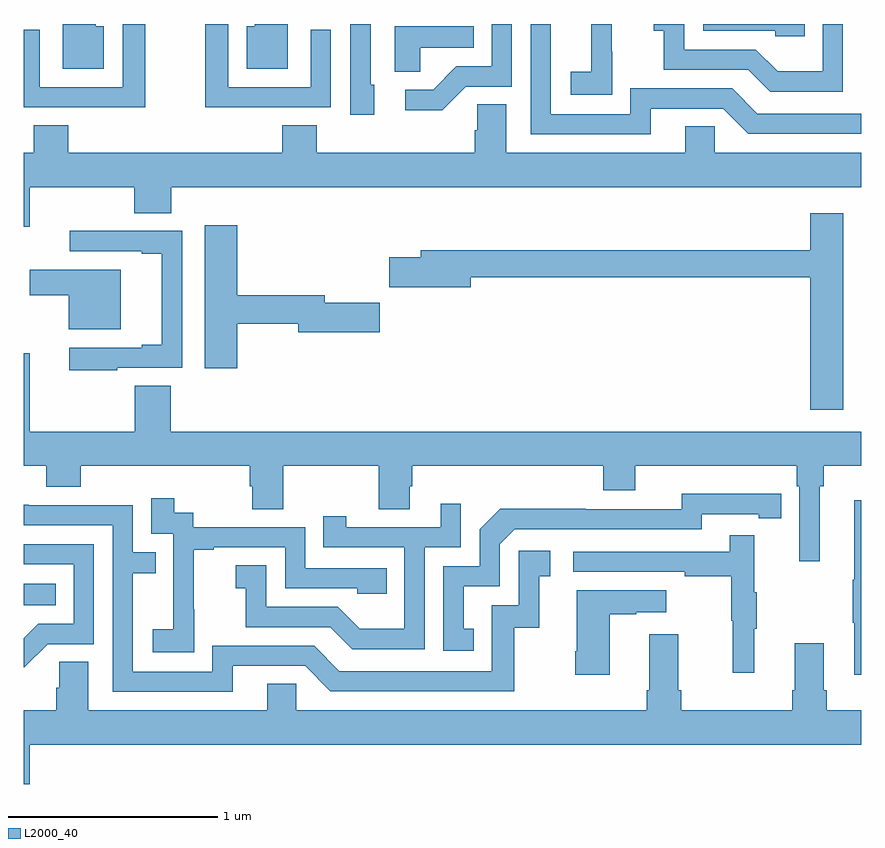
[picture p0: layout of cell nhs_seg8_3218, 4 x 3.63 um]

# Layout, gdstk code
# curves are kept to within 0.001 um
import gdstk
lib = gdstk.Library(unit=1e-6, precision=1e-09)
def R(c, l, rs):  # rectangles x0, y0, x1, y1
    for r in rs: c.add(gdstk.rectangle(r[:2], r[2:], *l))
def P(c, l, *ps):  # polygons
    for p in ps: c.add(gdstk.Polygon(p, *l))
L2000_40 = (2000, 40)

nhs_seg8_3218 = lib.new_cell('nhs_seg8_3218')
R(nhs_seg8_3218, L2000_40, [(309,1161.122,309.152,1161.226)])
P(nhs_seg8_3218, L2000_40, [(310.261,1163.9),(310.103,1163.9),(310.103,1163.89),(310.064,1163.89),(310.064,1163.687),(310.261,1163.687)],
  [(312.912,1163.9),(312.816,1163.9),(312.816,1163.674),(312.602,1163.674),(312.498,1163.778),(312.156,1163.778),(312.156,1163.9),(312.009,1163.9),(312.009,1163.867),(312.058,1163.867),(312.058,1163.682),(312.461,1163.682),(312.566,1163.577),(312.912,1163.577)],
  [(310.675,1163.61),(310.656,1163.61),(310.656,1163.9),(310.56,1163.9),(310.56,1163.466),(310.675,1163.466)],
  [(311.112,1163.601),(311.331,1163.601),(311.331,1163.9),(311.235,1163.9),(311.235,1163.697),(311.066,1163.697),(310.955,1163.586),(310.821,1163.586),(310.821,1163.489),(310.999,1163.489)],
  [(311.995,1163.496),(312.342,1163.496),(312.462,1163.376),(313,1163.376),(313,1163.472),(312.504,1163.472),(312.384,1163.592),(311.898,1163.592),(311.898,1163.469),(311.517,1163.469),(311.517,1163.9),(311.421,1163.9),(311.421,1163.373),(311.995,1163.373)],
  [(309.58,1163.9),(309.471,1163.9),(309.471,1163.598),(309.075,1163.598),(309.075,1163.872),(309,1163.872),(309,1163.502),(309.295,1163.502),(309.295,1163.501),(309.58,1163.501)],
  [(309.382,1163.89),(309.343,1163.89),(309.343,1163.9),(309.185,1163.9),(309.185,1163.687),(309.382,1163.687)],
  [(312.731,1163.9),(312.246,1163.9),(312.246,1163.868),(312.591,1163.868),(312.591,1163.841),(312.731,1163.841)],
  [(311.811,1163.767),(311.81,1163.767),(311.81,1163.9),(311.711,1163.9),(311.711,1163.671),(311.613,1163.671),(311.613,1163.561),(311.811,1163.561)],
  [(310.151,1163.502),(310.467,1163.502),(310.467,1163.872),(310.371,1163.872),(310.371,1163.598),(309.975,1163.598),(309.975,1163.9),(309.867,1163.9),(309.867,1163.501),(310.151,1163.501)],
  [(310.893,1163.786),(311.15,1163.786),(311.15,1163.89),(310.772,1163.89),(310.772,1163.671),(310.893,1163.671)],
  [(309.028,1163.12),(309.527,1163.12),(309.527,1162.996),(309.704,1162.996),(309.704,1163.12),(313,1163.12),(313,1163.284),(312.3,1163.284),(312.3,1163.411),(312.161,1163.411),(312.161,1163.284),(311.305,1163.284),(311.305,1163.516),(311.166,1163.516),(311.166,1163.393),(311.153,1163.393),(311.153,1163.284),(310.4,1163.284),(310.4,1163.417),(310.235,1163.417),(310.235,1163.284),(309.212,1163.284),(309.212,1163.417),(309.047,1163.417),(309.047,1163.284),(309,1163.284),(309,1162.932),(309.028,1162.932)],
  [(312.916,1162.996),(312.758,1162.996),(312.758,1162.819),(310.895,1162.819),(310.895,1162.785),(310.746,1162.785),(310.746,1162.643),(311.134,1162.643),(311.134,1162.69),(312.758,1162.69),(312.758,1162.056),(312.916,1162.056)],
  [(310.019,1162.468),(310.31,1162.468),(310.31,1162.426),(310.699,1162.426),(310.699,1162.568),(310.438,1162.568),(310.438,1162.604),(310.019,1162.604),(310.019,1162.939),(309.863,1162.939),(309.863,1162.254),(310.019,1162.254)],
  [(309.446,1162.257),(309.756,1162.257),(309.756,1162.911),(309.443,1162.911),(309.443,1162.913),(309.219,1162.913),(309.219,1162.815),(309.563,1162.815),(309.563,1162.803),(309.659,1162.803),(309.659,1162.366),(309.563,1162.366),(309.563,1162.353),(309.216,1162.353),(309.216,1162.245),(309.446,1162.245)],
  [(309.463,1162.726),(309.027,1162.726),(309.027,1162.604),(309.215,1162.604),(309.215,1162.442),(309.463,1162.442)],
  [(312.802,1161.692),(312.821,1161.692),(312.821,1161.788),(313,1161.788),(313,1161.952),(309.701,1161.952),(309.701,1162.172),(309.53,1162.172),(309.53,1161.952),(309.028,1161.952),(309.028,1162.327),(309,1162.327),(309,1161.788),(309.107,1161.788),(309.107,1161.689),(309.272,1161.689),(309.272,1161.788),(310.079,1161.788),(310.079,1161.69),(310.091,1161.69),(310.091,1161.58),(310.239,1161.58),(310.239,1161.788),(310.696,1161.788),(310.696,1161.58),(310.843,1161.58),(310.843,1161.69),(310.856,1161.69),(310.856,1161.788),(311.768,1161.788),(311.768,1161.671),(311.92,1161.671),(311.92,1161.788),(312.692,1161.788),(312.692,1161.692),(312.705,1161.692),(312.705,1161.333),(312.802,1161.333)],
  [(311.15,1161.009),(311.101,1161.009),(311.101,1161.213),(311.274,1161.213),(311.274,1161.414),(311.346,1161.486),(312.24,1161.486),(312.24,1161.558),(312.512,1161.558),(312.512,1161.538),(312.62,1161.538),(312.62,1161.654),(312.144,1161.655),(312.144,1161.582),(311.684,1161.582),(311.684,1161.584),(311.276,1161.584),(311.178,1161.486),(311.178,1161.309),(311.004,1161.309),(311.004,1160.904),(311.15,1160.904)],
  [(309.813,1161.103),(309.812,1161.103),(309.812,1161.387),(309.907,1161.387),(309.907,1161.399),(310.248,1161.399),(310.248,1161.204),(310.593,1161.204),(310.593,1161.177),(310.733,1161.177),(310.733,1161.3),(310.344,1161.3),(310.344,1161.495),(309.81,1161.495),(309.81,1161.564),(309.718,1161.564),(309.718,1161.634),(309.609,1161.634),(309.609,1161.465),(309.714,1161.465),(309.714,1161.236),(309.713,1161.236),(309.713,1161.007),(309.615,1161.007),(309.615,1160.897),(309.813,1160.897)],
  [(313,1161.625),(312.968,1161.625),(312.968,1161.245),(312.961,1161.245),(312.961,1161.039),(312.968,1161.039),(312.968,1160.79),(313,1160.79)],
  [(310.914,1161.399),(311.088,1161.399),(311.088,1161.607),(310.991,1161.607),(310.991,1161.495),(310.54,1161.495),(310.54,1161.547),(310.429,1161.547),(310.429,1161.399),(310.818,1161.399),(310.818,1161.01),(310.604,1161.01),(310.5,1161.114),(310.158,1161.114),(310.158,1161.313),(310.011,1161.313),(310.011,1161.203),(310.06,1161.203),(310.06,1161.018),(310.463,1161.018),(310.568,1160.913),(310.914,1160.913)],
  [(309.997,1160.832),(310.344,1160.832),(310.464,1160.712),(311.344,1160.712),(311.344,1161.015),(311.462,1161.015),(311.462,1161.261),(311.515,1161.261),(311.515,1161.382),(311.364,1161.382),(311.364,1161.123),(311.235,1161.123),(311.235,1160.808),(310.506,1160.808),(310.386,1160.928),(309.9,1160.928),(309.9,1160.805),(309.519,1160.805),(309.519,1161.274),(309.629,1161.274),(309.629,1161.375),(309.519,1161.375),(309.519,1161.6),(309.023,1161.6),(309.023,1161.602),(309,1161.602),(309,1161.504),(309.423,1161.504),(309.423,1160.709),(309.997,1160.709)],
  [(312.491,1161.011),(312.502,1161.011),(312.502,1161.185),(312.491,1161.185),(312.491,1161.457),(312.373,1161.457),(312.373,1161.378),(311.625,1161.378),(311.625,1161.282),(312.157,1161.282),(312.157,1161.262),(312.381,1161.262),(312.381,1161.048),(312.388,1161.048),(312.388,1160.799),(312.491,1160.799)],
  [(309.114,1160.937),(309.333,1160.937),(309.333,1161.414),(309,1161.414),(309,1161.318),(309.237,1161.318),(309.237,1161.033),(309.068,1161.033),(309,1160.965),(309,1160.825),(309.001,1160.825)],
  [(311.8,1161.079),(311.927,1161.079),(311.927,1161.089),(312.07,1161.089),(312.07,1161.193),(311.642,1161.193),(311.642,1160.902),(311.635,1160.902),(311.635,1160.79),(311.8,1160.79)],
  [(313,1160.62),(312.836,1160.62),(312.836,1160.716),(312.823,1160.716),(312.823,1160.941),(312.683,1160.941),(312.683,1160.716),(312.671,1160.716),(312.671,1160.62),(312.14,1160.62),(312.14,1160.716),(312.127,1160.716),(312.127,1160.983),(311.987,1160.983),(311.987,1160.716),(311.975,1160.716),(311.975,1160.62),(310.302,1160.62),(310.302,1160.747),(310.163,1160.747),(310.163,1160.62),(309.307,1160.62),(309.307,1160.852),(309.168,1160.852),(309.168,1160.729),(309.155,1160.729),(309.155,1160.62),(309,1160.62),(309,1160.268),(309.028,1160.268),(309.028,1160.456),(313,1160.456)])

lib.write_gds('nhs_seg8_3218.gds')
